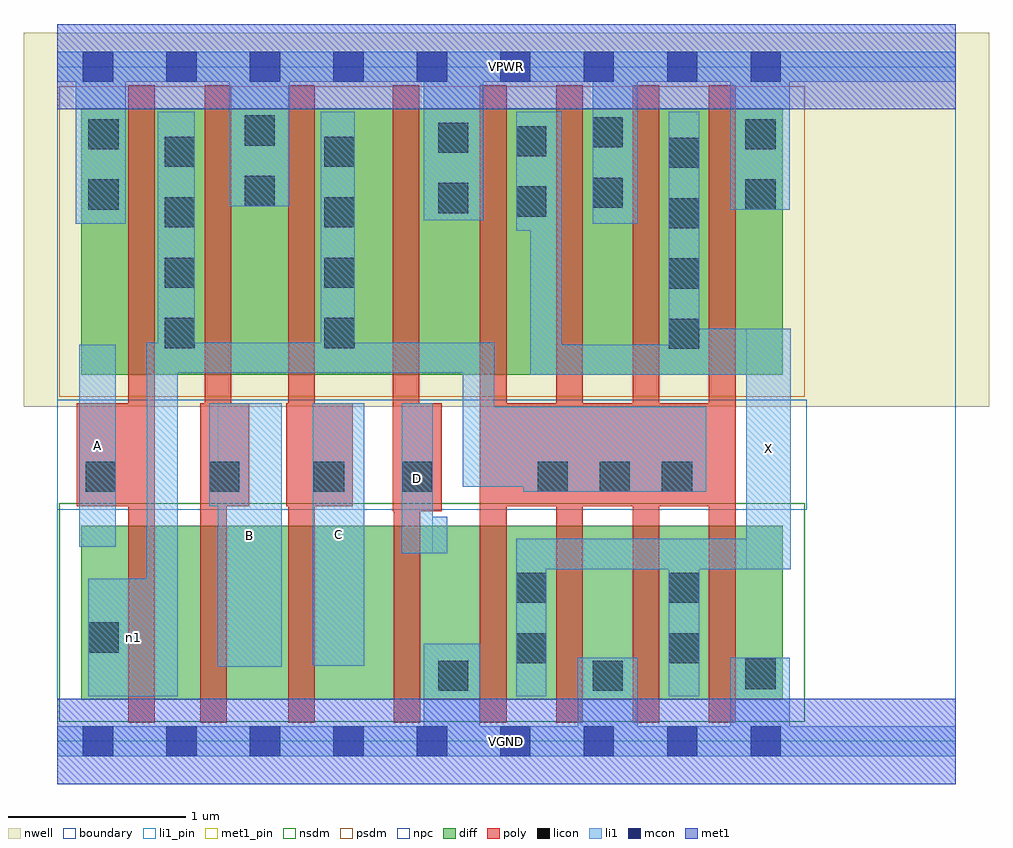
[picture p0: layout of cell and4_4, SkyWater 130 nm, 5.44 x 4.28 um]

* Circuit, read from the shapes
.subckt and4_4 A B C D VGND VPWR X n1
XM1 n2 A n1 VSUBS sky130_fd_pr__nfet_01v8 w=0.98 l=0.15
XM2 n3 B n2 VSUBS sky130_fd_pr__nfet_01v8 w=0.98 l=0.15
XM3 n4 C n3 VSUBS sky130_fd_pr__nfet_01v8 w=0.98 l=0.15
XM4 VGND D n4 VSUBS sky130_fd_pr__nfet_01v8 w=0.98 l=0.15
XM5 X n1 VGND VSUBS sky130_fd_pr__nfet_01v8 w=0.98 l=0.15 m=4
XM6 n1 A VPWR n5 sky130_fd_pr__pfet_01v8 w=1.5 l=0.15
XM7 VPWR B n1 n5 sky130_fd_pr__pfet_01v8 w=1.5 l=0.15
XM8 n1 C VPWR n5 sky130_fd_pr__pfet_01v8 w=1.5 l=0.15
XM9 VPWR D n1 n5 sky130_fd_pr__pfet_01v8 w=1.5 l=0.15
XM10 X n1 VPWR n5 sky130_fd_pr__pfet_01v8 w=1.5 l=0.15 m=4
.ends

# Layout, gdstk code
import gdstk
lib = gdstk.Library(unit=1e-6, precision=1e-09)
def R(c, l, rs):  # rectangles x0, y0, x1, y1
    for r in rs: c.add(gdstk.rectangle(r[:2], r[2:], *l))
def A(c, l, x, y, w, h, nx, ny, dx, dy):  # array of equal rectangles
    R(c, l, [(x+i*dx, y+j*dy, x+i*dx+w, y+j*dy+h) for i in range(nx) for j in range(ny)])
nwell = (64, 20)
diff = (65, 20)
poly = (66, 20)
licon = (66, 44)
li1_pin = (67, 16)
li1 = (67, 20)
mcon = (67, 44)
met1_pin = (68, 16)
met1 = (68, 20)
nsdm = (93, 44)
psdm = (94, 20)
npc = (95, 20)
boundary = (235, 4)

and4_4 = lib.new_cell('and4_4')
R(and4_4, nwell, [(-0.19,1.885,5.25,3.99), (0,1.885,5.06,3.99)])
R(and4_4, diff, [(0.135,0.235,4.085,1.215), (0.135,2.065,4.085,3.565)])
A(and4_4, poly, 2.38, 0.105, 0.15, 3.59, 4, 1, 0.43, 0)
R(and4_4, poly, [(0.4,0.105,0.55,3.695), (0.805,0.105,0.955,1.905), (1.3,0.105,1.45,3.695), (1.895,0.105,2.045,1.905), (1.89,1.295,2.04,3.695), (1.89,1.295,2.165,1.905), (0.11,1.325,0.55,1.905), (0.805,1.325,1.08,1.905), (0.83,1.325,0.98,3.695), (1.29,1.325,1.665,1.905), (2.38,1.325,3.82,1.905)])
A(and4_4, licon, 2.705, 1.405, 0.17, 0.17, 3, 1, 0.35, 0)
A(and4_4, licon, 3.445, 2.21, 0.17, 0.17, 1, 4, 0, 0.34)
A(and4_4, licon, 0.605, 2.215, 0.17, 0.17, 1, 4, 0, 0.34)
A(and4_4, licon, 1.505, 2.215, 0.17, 0.17, 1, 4, 0, 0.34)
R(and4_4, licon, [(2.145,0.285,2.315,0.455), (3.015,0.285,3.185,0.455), (3.875,0.295,4.045,0.465), (2.585,0.44,2.755,0.61), (3.445,0.44,3.615,0.61), (0.175,0.5,0.345,0.67), (2.585,0.78,2.755,0.95), (3.445,0.78,3.615,0.95), (0.16,1.405,0.33,1.575), (0.855,1.405,1.025,1.575), (1.445,1.405,1.615,1.575), (1.94,1.405,2.11,1.575), (2.585,2.955,2.755,3.125), (2.145,2.975,2.315,3.145), (0.175,2.995,0.345,3.165), (3.875,2.995,4.045,3.165), (3.015,3.005,3.185,3.175), (1.055,3.015,1.225,3.185), (2.585,3.295,2.755,3.465), (2.145,3.315,2.315,3.485), (0.175,3.335,0.345,3.505), (3.875,3.335,4.045,3.505), (3.015,3.345,3.185,3.515), (1.055,3.355,1.225,3.525)])
R(and4_4, li1_pin, [(0.905,0.42,1.265,1.905), (1.44,0.425,1.73,1.905), (3.88,0.97,4.13,2.325), (1.94,1.06,2.115,1.905), (0.125,1.095,0.33,2.235)])
R(and4_4, li1, [(0,-0.085,5.06,0.085), (2.065,-0.085,2.38,0.55), (2.93,-0.085,3.27,0.47), (3.79,-0.085,4.125,0.47), (0.175,0.255,0.68,0.915), (0.505,0.255,0.68,2.245), (2.585,0.255,2.755,1.14), (3.445,0.255,3.615,1.14), (0.905,0.42,1.265,1.905), (1.44,0.425,1.73,1.905), (2.585,0.97,4.13,1.14), (3.88,0.97,4.13,2.325), (1.94,1.06,2.115,1.905), (1.94,1.06,2.195,1.265), (0.125,1.095,0.33,2.235), (0.855,1.325,1.265,1.905), (2.625,1.405,3.655,1.885), (2.285,1.435,3.655,1.885), (2.285,1.435,2.46,2.245), (2.665,2.065,4.13,2.235), (2.665,2.065,2.84,3.545), (3.445,2.065,3.615,3.545), (3.445,2.065,4.13,2.325), (0.505,2.075,2.46,2.245), (0.565,2.075,0.775,3.545), (1.485,2.075,1.675,3.545), (2.585,2.875,2.84,3.545), (0.105,2.915,0.385,3.885), (3.015,2.915,3.27,3.885), (2.065,2.935,2.4,3.885), (3.79,2.995,4.125,3.885), (0.97,3.015,1.31,3.885), (0,3.715,5.06,3.885)])
A(and4_4, mcon, 0.145, -0.085, 0.17, 0.17, 9, 2, 0.47, 3.8)
R(and4_4, met1_pin, [(0,-0.24,5.06,0.24), (0,3.56,5.06,4.04)])
R(and4_4, met1, [(0,-0.24,5.06,0.24), (0,3.56,5.06,4.04)])
R(and4_4, nsdm, [(0.01,0.11,4.21,1.34)])
R(and4_4, psdm, [(0.01,1.94,4.21,3.69)])
R(and4_4, npc, [(0,1.305,4.22,1.925)])
R(and4_4, boundary, [(0,0,5.06,3.8)])
and4_4.add(gdstk.Label('A', (0.227,1.665), layer=67, texttype=5))
and4_4.add(gdstk.Label('B', (1.085,1.162), layer=67, texttype=5))
and4_4.add(gdstk.Label('C', (1.585,1.165), layer=67, texttype=5))
and4_4.add(gdstk.Label('D', (2.027,1.482), layer=67, texttype=5))
and4_4.add(gdstk.Label('X', (4.005,1.647), layer=67, texttype=5))
and4_4.add(gdstk.Label('n1', (0.427,0.585), layer=67, texttype=5))
and4_4.add(gdstk.Label('VPWR', (2.53,3.8), layer=68, texttype=5))
and4_4.add(gdstk.Label('VGND', (2.53,0), layer=68, texttype=5))
and4_4.add(gdstk.Label('A', (0.227,1.665), layer=67, texttype=16))
and4_4.add(gdstk.Label('B', (1.085,1.162), layer=67, texttype=16))
and4_4.add(gdstk.Label('C', (1.585,1.165), layer=67, texttype=16))
and4_4.add(gdstk.Label('D', (2.027,1.482), layer=67, texttype=16))
and4_4.add(gdstk.Label('X', (4.005,1.647), layer=67, texttype=16))
and4_4.add(gdstk.Label('VPWR', (2.53,3.8), layer=68, texttype=16))
and4_4.add(gdstk.Label('VGND', (2.53,0), layer=68, texttype=16))

lib.write_gds('and4_4.gds')
